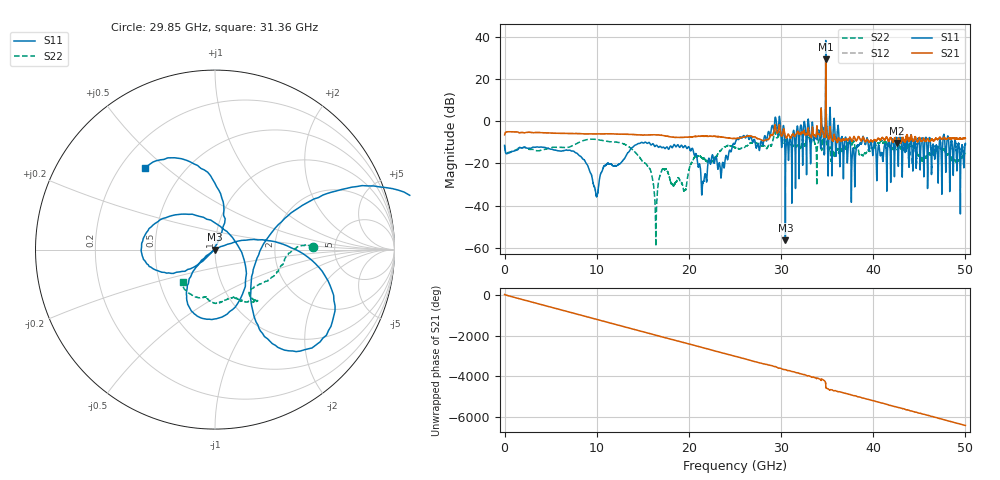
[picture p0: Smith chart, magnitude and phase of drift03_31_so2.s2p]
!Created with skrf (http://scikit-rf.org).
# Hz S RI R 50.0
!freq ReS11 ImS11 ReS21 ImS21 ReS12 ImS12 ReS22 ImS22
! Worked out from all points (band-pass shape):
!   10001 points, 300 kHz to 50 GHz, reference 50 ohm
!   highest |S21| = 29.27 dB at 34.85 GHz (marker M1); lowest = -10.4 dB at 42.55 GHz (marker M2)
!   |S21| within 3 dB of the highest: 34.84399 GHz to 34.84594 GHz (1.952 MHz wide, 0.0056 % of centre)
!   lowest |S11| = -56.3 dB at 30.47 GHz (marker M3), VSWR 1.00, Z = 49.9 - j0.0487 ohm
!   |S11| at or under -10 dB: start of sweep to 15.23 GHz; 15.32 GHz to 25.05 GHz (9.737 GHz wide, 48.2 % of centre); 40.22 GHz to 41.62 GHz (1.399 GHz wide, 3.42 % of centre) (the widest 3 of 53)
!   |S22| runs from -59.2 to 20.3 dB; largest |S21 - S12| = 4.4
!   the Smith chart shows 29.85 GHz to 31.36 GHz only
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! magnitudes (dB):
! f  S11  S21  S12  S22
! 300 kHz  -11.5  -6.5  -6.5  -11.5
! 8.335 GHz  -17.1  -6.0  -6.0  -9.6
! 9.955 GHz  -35.5  -6.1  -6.1  -8.7
! 11 GHz  -20.8  -6.0  -6.0  -9.5
! 13.91 GHz  -12.4  -6.3  -6.3  -13.7
! 16.36 GHz  -11.9  -6.5  -6.5  -43.3
! 16.67 GHz  -12.4  -6.6  -6.5  -29.6
! 17.33 GHz  -12.7  -7.0  -6.9  -22.9
! 19.54 GHz  -11.7  -7.7  -7.6  -32.9
! 20.22 GHz  -13.9  -7.5  -7.5  -20.2
! 21.55 GHz  -28.5  -7.2  -7.2  -17.8
! 25 GHz  -10.6  -8.3  -8.2  -12.5
! 29.6 GHz  -5.5  -5.7  -5.9  -7.9
! 30.47 GHz  -56.3  -7.2  -7.2  -9.1
! 33.34 GHz  -3.8  -6.8  -6.7  -9.3
! 34.85 GHz  38.1  29.3  29.0  20.3
! 35.62 GHz  -7.2  -9.2  -9.1  -16.0
! 37.82 GHz  -12.8  -8.4  -8.4  -10.2
! 38.81 GHz  -9.1  -8.3  -8.3  -16.1
! 41.67 GHz  -9.4  -9.4  -9.3  -11.4
! 42.55 GHz  -8.3  -10.4  -10.4  -13.2
! 50 GHz  -11.1  -8.2  -8.3  -15.5
